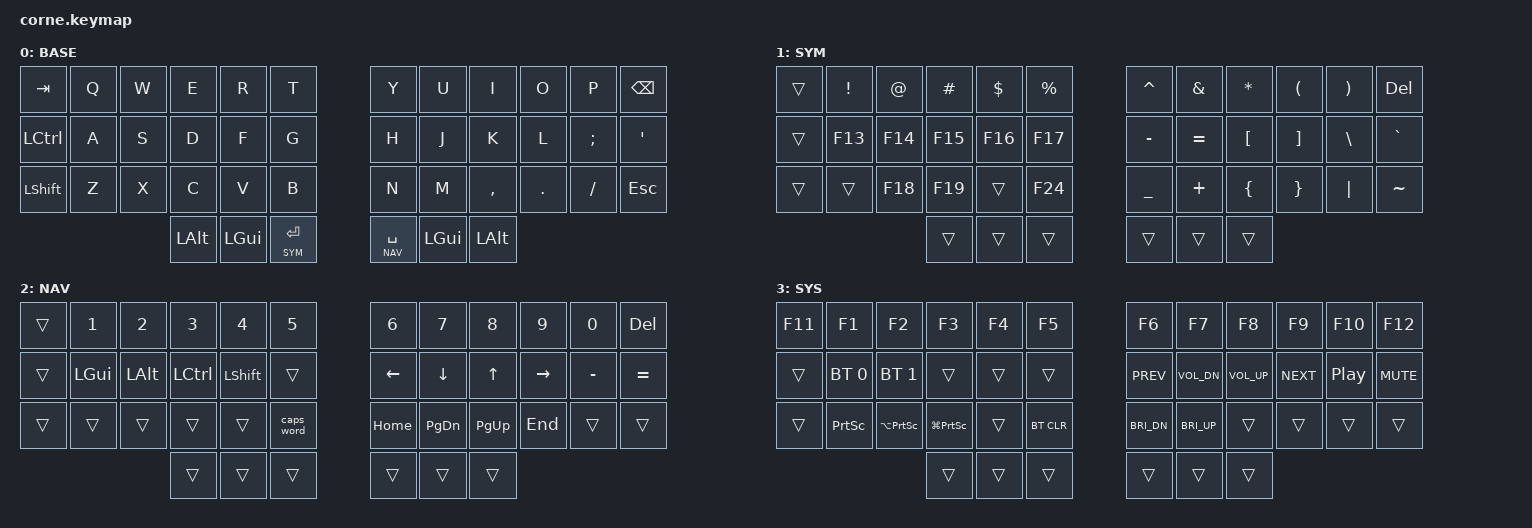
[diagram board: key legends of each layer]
/*
 * Proposed Corne layout tuned for Omarchy (Hyprland).
 *
 * Super lives on the left resting thumb, layers on the inner thumbs, so every
 * Super+<key> chord is split across both hands (or is one-handed on the left,
 * leaving the right hand on the mouse).
 *
 * SPDX-License-Identifier: MIT
 */

#include <behaviors.dtsi>
#include <dt-bindings/zmk/keys.h>
#include <dt-bindings/zmk/bt.h>

#define BASE 0
#define SYM  1
#define NAV  2
#define SYS  3

// App keys on SYM. Spare keycodes that Hyprland binds to launchers
// (~/.config/hypr/bindings.lua); change the app there, not here.
#define APP_LAUNCH   F13
#define APP_TERM     F14
#define APP_GITHUB   F15
#define APP_FILES    F16
#define APP_GROK     F17
#define APP_X        F18
#define APP_T3       F19
#define APP_BROWSER  F24

/ {
        behaviors {
                // Thumb layer-tap: key on tap, layer on hold. Used for
                // Enter/SYM and Space/NAV. require-prior-idle keeps fast
                // typing from ever turning a tap into a layer.
                lt_th: layer_tap_thumb {
                        compatible = "zmk,behavior-hold-tap";
                        #binding-cells = <2>;
                        flavor = "balanced";
                        tapping-term-ms = <200>;
                        quick-tap-ms = <175>;
                        require-prior-idle-ms = <150>;
                        bindings = <&mo>, <&kp>;
                };
        };

        // Hold SYM + NAV (both inner thumbs) for SYS.
        conditional_layers {
                compatible = "zmk,conditional-layers";
                sys_layer {
                        if-layers = <SYM NAV>;
                        then-layer = <SYS>;
                };
        };

        keymap {
                compatible = "zmk,keymap";

                base_layer {
                        display-name = "BASE";
// -----------------------------------------------------------------------------------------
// |  TAB |  Q  |  W  |  E  |  R  |  T  |   |  Y  |  U  |  I  |  O  |  P  | BSPC |
// | CTRL |  A  |  S  |  D  |  F  |  G  |   |  H  |  J  |  K  |  L  |  ;  |  '   |
// | SHFT |  Z  |  X  |  C  |  V  |  B  |   |  N  |  M  |  ,  |  .  |  /  | ESC  |
//                    | ALT | GUI | ENT/SYM |   | SPC/NAV | GUI | ALT |
                        bindings = <
   &kp TAB   &kp Q &kp W &kp E &kp R &kp T   &kp Y &kp U  &kp I     &kp O   &kp P    &kp BSPC
   &kp LCTRL &kp A &kp S &kp D &kp F &kp G   &kp H &kp J  &kp K     &kp L   &kp SEMI &kp SQT
   &kp LSHFT &kp Z &kp X &kp C &kp V &kp B   &kp N &kp M  &kp COMMA &kp DOT &kp FSLH &kp ESC
                  &kp LALT &kp LGUI &lt_th SYM RET   &lt_th NAV SPACE &kp LGUI &kp LALT
                        >;
                };

                sym_layer {
                        display-name = "SYM";
// -----------------------------------------------------------------------------------------
// |      |  !  |  @  |  #  |  $  |  %  |   |  ^  |  &  |  *  |  (  |  )  | DEL  |
// |      | APPS| TERM| GHUB|FILES| GROK|   |  -  |  =  |  [  |  ]  |  \  |  `   |
// |      |     |  X  |  T3 |     | BRWS|   |  _  |  +  |  {  |  }  |  |  |  ~   |
//                    |     |     | ### |   | SYS |     |     |
                        bindings = <
   &trans &kp EXCL &kp AT &kp HASH &kp DLLR &kp PRCNT   &kp CARET &kp AMPS  &kp ASTRK &kp LPAR &kp RPAR &kp DEL
   &trans &kp APP_LAUNCH &kp APP_TERM &kp APP_GITHUB &kp APP_FILES &kp APP_GROK      &kp MINUS &kp EQUAL &kp LBKT  &kp RBKT &kp BSLH &kp GRAVE
   &trans &trans         &kp APP_X    &kp APP_T3     &trans        &kp APP_BROWSER   &kp UNDER &kp PLUS  &kp LBRC  &kp RBRC &kp PIPE &kp TILDE
                          &trans   &trans   &trans      &trans    &trans    &trans
                        >;
                };

                nav_layer {
                        display-name = "NAV";
// -----------------------------------------------------------------------------------------
// |      |  1  |  2  |  3  |  4  |  5  |   |  6  |  7  |  8  |  9  |  0  | DEL  |
// |      | GUI | ALT | CTRL| SHFT|     |   | LFT | DWN |  UP | RGT |  -  |  =   |
// |      |     |     |     |     | CAPS|   | HOME| PGDN| PGUP| END |     |      |
//                    |     |     | SYS |   | ### |     |     |
                        bindings = <
   &trans &kp N1   &kp N2   &kp N3    &kp N4    &kp N5      &kp N6   &kp N7    &kp N8    &kp N9    &kp N0    &kp DEL
   &trans &kp LGUI &kp LALT &kp LCTRL &kp LSHFT &trans      &kp LEFT &kp DOWN  &kp UP    &kp RIGHT &kp MINUS &kp EQUAL
   &trans &trans   &trans   &trans    &trans    &caps_word  &kp HOME &kp PG_DN &kp PG_UP &kp END   &trans    &trans
                            &trans    &trans    &trans      &trans   &trans    &trans
                        >;
                };

                sys_layer {
                        display-name = "SYS";
// -----------------------------------------------------------------------------------------
// |  F11 |  F1 |  F2 |  F3 |  F4 |  F5 |   |  F6 |  F7 |  F8 |  F9 | F10 | F12  |
// |      | BT1 | BT2 |     |     |     |   | PREV| VOL-| VOL+| NEXT| PLAY| MUTE |
// |      | PRT |A+PRT|G+PRT|     |BTCLR|   | BRI-| BRI+|     |     |     |      |
//                    |     |     | ### |   | ### |     |     |
                        bindings = <
   &kp F11 &kp F1       &kp F2       &kp F3       &kp F4       &kp F5         &kp F6      &kp F7      &kp F8      &kp F9    &kp F10  &kp F12
   &trans  &bt BT_SEL 0 &bt BT_SEL 1 &trans       &trans       &trans         &kp C_PREV  &kp C_VOL_DN &kp C_VOL_UP &kp C_NEXT &kp C_PP &kp C_MUTE
   &trans  &kp PSCRN    &kp LA(PSCRN) &kp LG(PSCRN) &trans     &bt BT_CLR     &kp C_BRI_DN &kp C_BRI_UP &trans   &trans    &trans   &trans
                                      &trans       &trans       &trans         &trans      &trans      &trans
                        >;
                };
        };
};
